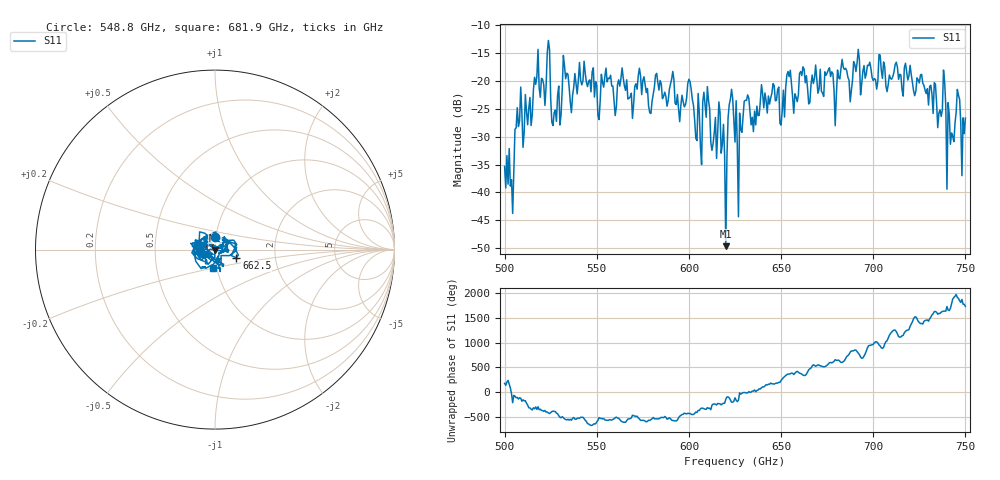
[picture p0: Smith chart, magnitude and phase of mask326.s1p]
!Created with skrf (http://scikit-rf.org).
# GHz S MA R 50.0
!freq magS11 angS11
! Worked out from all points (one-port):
!   401 points, 500 GHz to 750 GHz, reference 50 ohm
!   lowest |S11| = -49.6 dB at 620 GHz (marker M1), VSWR 1.01, Z = 49.8 - j0.214 ohm
!   |S11| at or under -10 dB: start of sweep to end of sweep
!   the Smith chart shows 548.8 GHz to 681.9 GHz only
!   S11 on the Smith chart (normalised r, x): 548.8 GHz: 0.99, +0.14; 662.5 GHz: 1.26, -0.12; 681.9 GHz: 0.96, -0.20
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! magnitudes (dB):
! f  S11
! 500 GHz  -35.3
! 503.8 GHz  -37.7
! 507.5 GHz  -28.2
! 513.8 GHz  -23.0
! 516.9 GHz  -20.6
! 523.8 GHz  -12.7
! 526.9 GHz  -25.7
! 531.2 GHz  -21.6
! 548.8 GHz  -22.9
! 562.5 GHz  -20.9
! 593.8 GHz  -22.5
! 600.6 GHz  -20.2
! 605.6 GHz  -25.7
! 609.4 GHz  -26.5
! 620 GHz  -49.6
! 622.5 GHz  -23.3
! 625 GHz  -31.0
! 627.5 GHz  -25.8
! 631.2 GHz  -23.5
! 656.2 GHz  -22.8
! 662.5 GHz  -17.9
! 681.9 GHz  -19.6
! 687.5 GHz  -23.7
! 718.8 GHz  -19.8
! 738.1 GHz  -18.0
! 741.2 GHz  -26.1
! 745.6 GHz  -21.5
! 750 GHz  -26.7
